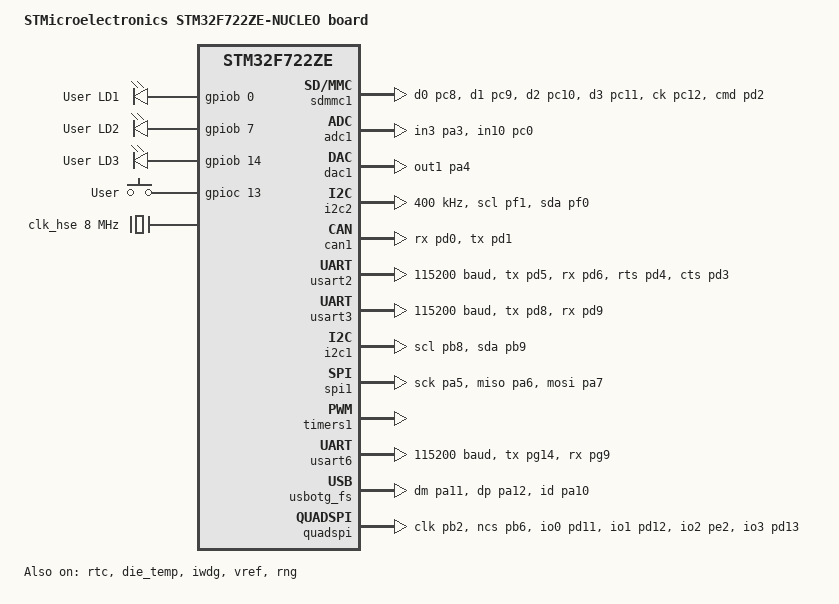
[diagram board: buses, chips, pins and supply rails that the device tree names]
/*
 * Copyright (c) 2023 Evan Perry Grove
 * Copyright (c) 2024 STMicroelectronics
 *
 * SPDX-License-Identifier: Apache-2.0
 */

/dts-v1/;
#include <st/f7/stm32f722Xe.dtsi>
#include <st/f7/stm32f722z(c-e)tx-pinctrl.dtsi>
#include "arduino_r3_connector.dtsi"
#include <zephyr/dt-bindings/input/input-event-codes.h>

/ {
	model = "STMicroelectronics STM32F722ZE-NUCLEO board";
	compatible = "st,stm32f722ze-nucleo";

	chosen {
		zephyr,console = &usart3;
		zephyr,shell-uart = &usart3;
		zephyr,sram = &sram0;
		zephyr,flash = &flash0;
		zephyr,dtcm = &dtcm;
		zephyr,canbus = &can1;
		zephyr,code-partition = &slot0_partition;
	};

	leds {
		compatible = "gpio-leds";
		green_led: led_1 {
			gpios = <&gpiob 0 GPIO_ACTIVE_HIGH>;
			label = "User LD1";
		};
		blue_led: led_2 {
			gpios = <&gpiob 7 GPIO_ACTIVE_HIGH>;
			label = "User LD2";
		};
		red_led: led_3 {
			gpios = <&gpiob 14 GPIO_ACTIVE_HIGH>;
			label = "User LD3";
		};
	};

	gpio_keys {
		compatible = "gpio-keys";
		user_button: button {
			label = "User";
			gpios = <&gpioc 13 GPIO_ACTIVE_HIGH>;
			zephyr,code = <INPUT_KEY_0>;
		};
	};

	aliases {
		led0 = &green_led;
		led1 = &blue_led;
		led2 = &red_led;
		sw0 = &user_button;
		watchdog0 = &iwdg;
		die-temp0 = &die_temp;
		volt-sensor0 = &vref;
	};
};

&clk_hse {
	clock-frequency = <DT_FREQ_M(8)>;
	status = "okay";
};

&clk_hsi {
	status = "disabled";
};

&clk_lsi {
	status = "okay";
};

&pll {
	div-m = <4>;
	mul-n = <216>;
	div-p = <2>;
	div-q = <9>;
	clocks = <&clk_hse>;
	status = "okay";
};

&rcc {
	clocks = <&pll>;
	clock-frequency = <DT_FREQ_M(216)>;
	ahb-prescaler = <1>;
	apb1-prescaler = <4>;
	apb2-prescaler = <2>;
};

&sdmmc1 {
	status = "okay";
	pinctrl-0 = <&sdmmc1_d0_pc8 &sdmmc1_d1_pc9 &sdmmc1_d2_pc10
		&sdmmc1_d3_pc11 &sdmmc1_ck_pc12 &sdmmc1_cmd_pd2>;
	pinctrl-names = "default";
	cd-gpios = <&gpioi 15 GPIO_ACTIVE_LOW>;
};

&adc1 {
	pinctrl-0 = <&adc1_in3_pa3 &adc1_in10_pc0>;
	pinctrl-names = "default";
	st,adc-clock-source = "SYNC";
	st,adc-prescaler = <2>;
	status = "okay";
};

&dac1 {
	pinctrl-0 = <&dac_out1_pa4>;
	pinctrl-names = "default";
	status = "okay";
};

&i2c2 {
	pinctrl-0 = <&i2c2_scl_pf1 &i2c2_sda_pf0>;
	pinctrl-names = "default";
	status = "okay";
	clock-frequency = <I2C_BITRATE_FAST>;
};

&can1 {
	pinctrl-0 = <&can1_rx_pd0 &can1_tx_pd1>;
	pinctrl-names = "default";
	status = "okay";
};

&usart2 {
	pinctrl-0 = <&usart2_tx_pd5 &usart2_rx_pd6 &usart2_rts_pd4 &usart2_cts_pd3>;
	pinctrl-names = "default";
	current-speed = <115200>;
	status = "okay";
};

&usart3 {
	pinctrl-0 = <&usart3_tx_pd8 &usart3_rx_pd9>;
	pinctrl-names = "default";
	current-speed = <115200>;
	status = "okay";
};

&i2c1 {
	pinctrl-0 = <&i2c1_scl_pb8 &i2c1_sda_pb9>;
	pinctrl-names = "default";
	status = "okay";
};

&spi1 {
	pinctrl-0 = <&spi1_sck_pa5 &spi1_miso_pa6 &spi1_mosi_pa7>;
	pinctrl-names = "default";
	cs-gpios = <&gpiod 14 (GPIO_ACTIVE_LOW | GPIO_PULL_UP)>;
	status = "okay";
};

&timers1 {
	status = "okay";

	pwm1: pwm {
		status = "okay";
		pinctrl-0 = <&tim1_ch2_pe11 &tim1_ch3_pe13>;
		pinctrl-names = "default";
	};
};

&usart6 {
	pinctrl-0 = <&usart6_tx_pg14 &usart6_rx_pg9>;
	pinctrl-names = "default";
	current-speed = <115200>;
	status = "okay";
};

zephyr_udc0: &usbotg_fs {
	pinctrl-0 = <&usb_otg_fs_dm_pa11 &usb_otg_fs_dp_pa12 &usb_otg_fs_id_pa10>;
	pinctrl-names = "default";
	status = "okay";
};

&rtc {
	clocks = <&rcc STM32_CLOCK_BUS_APB1 0x10000000>,
		<&rcc STM32_SRC_LSI RTC_SEL(2)>;
	status = "okay";
};

&die_temp {
	status = "okay";
};

&dma2 {
	status = "okay";
};

&iwdg {
	status = "okay";
};

&vref {
	status = "okay";
};

&rng {
	status = "okay";
};

&backup_sram {
	status = "okay";
};

&quadspi {
	pinctrl-names = "default";
	pinctrl-0 = <&quadspi_clk_pb2 &quadspi_bk1_ncs_pb6
				&quadspi_bk1_io0_pd11 &quadspi_bk1_io1_pd12
				&quadspi_bk1_io2_pe2 &quadspi_bk1_io3_pd13>;
	flash-id = <1>;
	status = "okay";
};

&flash0 {

	partitions {
		compatible = "fixed-partitions";
		#address-cells = <1>;
		#size-cells = <1>;

		/* sectors 0-3 */
		boot_partition: partition@0 {
			label = "mcuboot";
			reg = <0x00000000 DT_SIZE_K(64)>;
			read-only;
		};

		/* sector 4 */
		storage_partition: partition@10000 {
			label = "storage";
			reg = <0x00010000 DT_SIZE_K(64)>;
		};

		/* sector 5 */
		slot0_partition: partition@20000 {
			label = "image-0";
			reg = <0x00020000 DT_SIZE_K(128)>;
		};

		/* sector 6 */
		slot1_partition: partition@40000 {
			label = "image-1";
			reg = <0x00040000 DT_SIZE_K(128)>;
		};

		/* sector 7 */
		scratch_partition: partition@60000 {
			label = "image-scratch";
			reg = <0x00060000 DT_SIZE_K(128)>;
		};
	};
};
